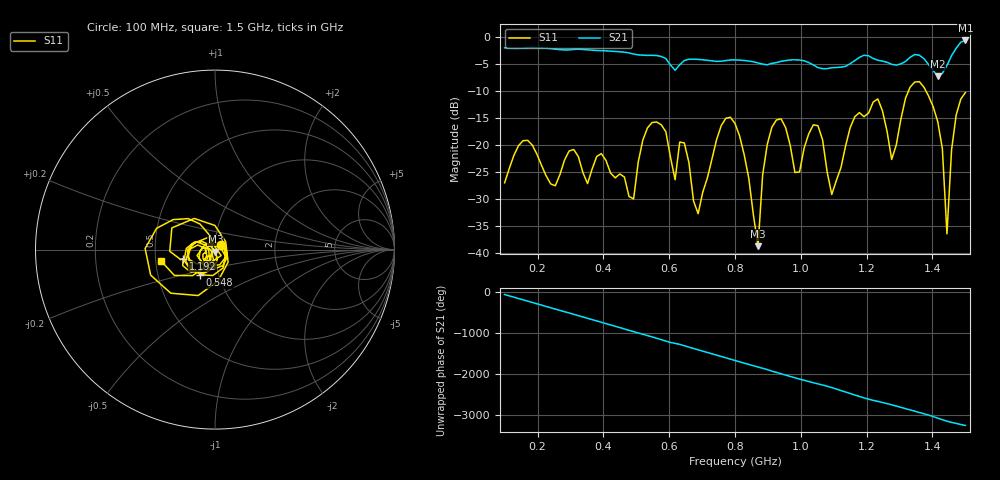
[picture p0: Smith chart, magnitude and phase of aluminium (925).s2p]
! NanoVNA-App
! Date: 2025-09-25 15:02:29
! Start: 100MHz Stop: 1,5GHz Points: 101
! S-Parameter data: F S11 S21 S12 S22
# Hz S RI R 50
!  Frequency  S11_Real  S11_Imag  S21_Real  S21_Imag  S12_Real  S12_Imag  S22_Real  S22_Imag
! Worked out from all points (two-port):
!   101 points, 100 MHz to 1.5 GHz, reference 50 ohm
!   highest |S21| = -0.56 dB at 1.5 GHz (marker M1); lowest = -7.2 dB at 1.416 GHz (marker M2)
!   |S21| within 3 dB of the highest: start of sweep to 576.9 MHz; 1.457 GHz to end of sweep (the widest 2 of 4)
!   lowest |S11| = -38.7 dB at 870 MHz (marker M3), VSWR 1.02, Z = 50.2 - j1.15 ohm
!   |S11| at or under -10 dB: start of sweep to 1.327 GHz; 1.381 GHz to end of sweep
!   S12 and S22 are empty: the file has one direction only
!   S11 on the Smith chart (normalised r, x): 100 MHz: 1.07, +0.06; 548 MHz: 0.82, -0.24; 1.192 GHz: 0.70, -0.07; 1.5 GHz: 0.53, -0.07
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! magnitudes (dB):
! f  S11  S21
! 100 MHz  -27.0  -1.9
! 156 MHz  -19.1  -2.0
! 338 MHz  -25.1  -2.2
! 492 MHz  -29.9  -3.1
! 548 MHz  -15.8  -3.3
! 576 MHz  -16.2  -3.5
! 646 MHz  -19.6  -4.3
! 688 MHz  -32.7  -4.1
! 800 MHz  -15.9  -4.2
! 870 MHz  -38.7  -4.7
! 912 MHz  -16.6  -4.8
! 982 MHz  -25.0  -4.2
! 1.038 GHz  -16.2  -5.1
! 1.094 GHz  -29.1  -5.6
! 1.192 GHz  -14.7  -3.3
! 1.234 GHz  -11.4  -4.2
! 1.276 GHz  -22.6  -5.0
! 1.346 GHz  -8.3  -3.2
! 1.416 GHz  -15.6  -7.2
! 1.444 GHz  -36.4  -5.2
! 1.458 GHz  -20.8  -3.4
! 1.5 GHz  -10.2  -0.6
